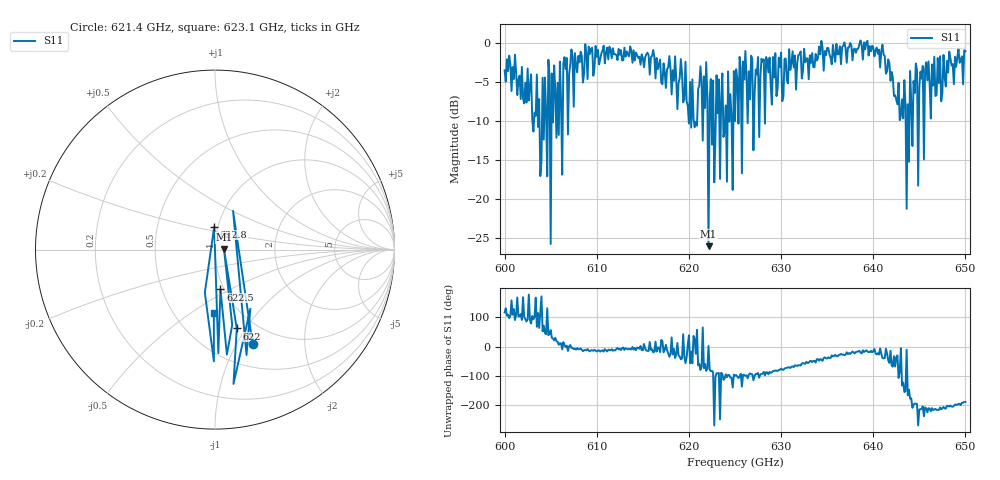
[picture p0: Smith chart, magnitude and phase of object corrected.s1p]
!Created with skrf (http://scikit-rf.org).
# GHz S MA R 50.0
!freq magS11 angS11
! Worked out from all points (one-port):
!   401 points, 600 GHz to 650 GHz, reference 50 ohm
!   lowest |S11| = -26.0 dB at 622.1 GHz (marker M1), VSWR 1.11, Z = 55.3 + j0.172 ohm
!   |S11| at or under -10 dB: 603.7859 GHz to 604.0599 GHz (274 MHz wide, 0.0454 % of centre); 620.5386 GHz to 620.8905 GHz (351.9 MHz wide, 0.0567 % of centre); 622.675 GHz to 622.9085 GHz (233.5 MHz wide, 0.0375 % of centre) (the widest 3 of 35)
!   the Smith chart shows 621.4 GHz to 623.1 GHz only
!   S11 on the Smith chart (normalised r, x): 621.4 GHz: 0.75, -1.17; 622 GHz: 0.82, -0.91; 622.5 GHz: 0.96, -0.45; 622.8 GHz: 0.96, +0.25; 623.1 GHz: 0.77, -0.62
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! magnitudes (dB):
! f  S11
! 600 GHz  -3.5
! 602.6 GHz  -7.3
! 604 GHz  -15.1
! 604.6 GHz  -17.1
! 604.8 GHz  -2.1
! 605.4 GHz  -2.9
! 606.2 GHz  -16.8
! 608.1 GHz  -2.5
! 612.5 GHz  -1.5
! 618.8 GHz  -8.5
! 620.8 GHz  -10.1
! 621.4 GHz  -4.9
! 622 GHz  -6.8
! 622.1 GHz  -26.0
! 622.5 GHz  -13.0
! 622.8 GHz  -17.8
! 623.1 GHz  -9.0
! 625 GHz  -10.0
! 625.4 GHz  -10.3
! 625.5 GHz  -1.8
! 626.1 GHz  -1.0
! 631.2 GHz  -1.1
! 637.5 GHz  0.0
! 641.1 GHz  -1.5
! 643.8 GHz  -7.8
! 644.5 GHz  -6.4
! 645.9 GHz  -4.8
! 650 GHz  -1.0
